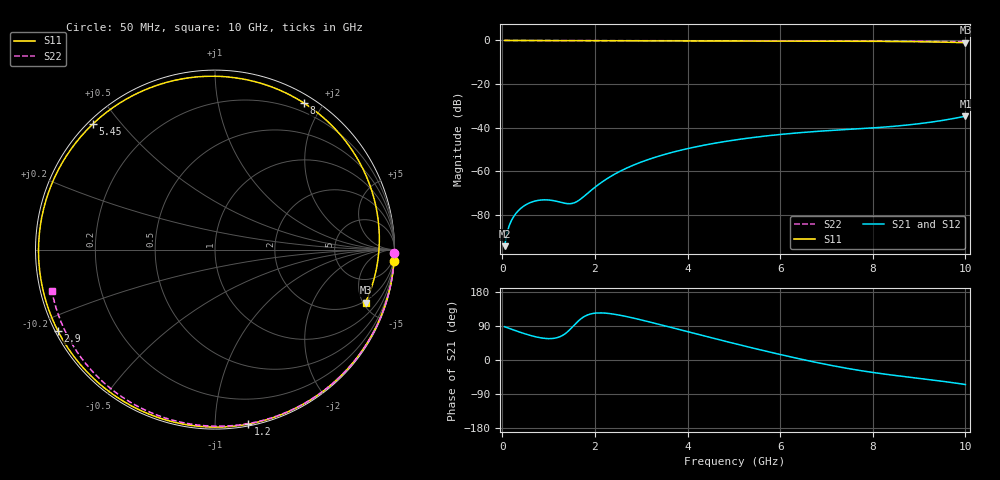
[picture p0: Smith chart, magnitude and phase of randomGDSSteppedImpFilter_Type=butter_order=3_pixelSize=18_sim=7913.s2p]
! freq	dB(S11)	phase(S11)	dB(S12)	phase(S12)
!  dB(S21)	phase(S21)	dB(S22)	phase(S22)
!S-par simulation data
#  GHz  S  DB  R 50
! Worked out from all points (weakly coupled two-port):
!   200 points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, 50 MHz to 10 GHz, reference 50 ohm
!   highest |S21| = -34.70 dB at 10 GHz (marker M1); lowest = -94.3 dB at 50 MHz (marker M2)
!   lowest |S11| = -1.0 dB at 10 GHz (marker M3), VSWR 16.99, Z = 92.9 - j261 ohm
!   |S11| at or under -10 dB: nowhere
!   |S22| runs from -0.6 to 0.0 dB; largest |S21 - S12| = 0
!   S11 on the Smith chart (normalised r, x): 50 MHz: 0, -31; 1.2 GHz: 0.01, -1.21; 2.9 GHz: 0.01, -0.24; 5.45 GHz: 0.01, +0.42; 8 GHz: 0.10, +1.77; 10 GHz: 1.86, -5.22
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0.05  -0.00 -3.6  -94.26 87.8  -94.26 87.8  -0.00 -1.0
0.25  -0.03 -18.0  -80.56 78.9  -80.56 78.9  -0.01 -4.7
0.45  -0.04 -32.0  -76.10 70.6  -76.10 70.6  -0.01 -8.5
0.65  -0.06 -45.5  -73.94 63.4  -73.94 63.4  -0.02 -12.2
0.9  -0.07 -61.5  -73.03 57.3  -73.03 57.3  -0.02 -16.9
1.2  -0.09 -79.2  -73.83 59.5  -73.83 59.5  -0.03 -22.5
1.5  -0.10 -95.3  -74.71 85.3  -74.71 85.3  -0.04 -28.0
1.75  -0.11 -107.4  -71.71 113.2  -71.71 113.2  -0.04 -32.6
2.3  -0.12 -130.9  -62.83 122.8  -62.83 122.8  -0.05 -42.5
2.9  -0.13 -152.6  -56.54 108.7  -56.54 108.7  -0.07 -53.2
3.4  -0.14 -168.7  -52.88 93.6  -52.88 93.6  -0.08 -61.8
4.2  -0.16 168.1  -48.65 68.5  -48.65 68.5  -0.11 -75.3
5.05  -0.19 144.9  -45.52 42.3  -45.52 42.3  -0.14 -89.2
5.45  -0.21 134.0  -44.38 30.4  -44.38 30.4  -0.16 -95.6
6.1  -0.24 116.2  -42.88 11.7  -42.88 11.7  -0.19 -105.7
6.7  -0.28 99.2  -41.81 -4.4  -41.81 -4.4  -0.23 -115.0
7.35  -0.33 79.7  -40.91 -19.9  -40.91 -19.9  -0.27 -124.9
8  -0.40 58.8  -40.07 -32.8  -40.07 -32.8  -0.33 -134.7
8.35  -0.45 46.8  -39.53 -38.7  -39.53 -38.7  -0.36 -140.0
9.25  -0.66 13.0  -37.45 -52.2  -37.45 -52.2  -0.46 -153.9
9.65  -0.83 -3.7  -36.12 -58.6  -36.12 -58.6  -0.51 -160.2
10  -1.02 -19.4  -34.70 -64.8  -34.70 -64.8  -0.56 -165.8
